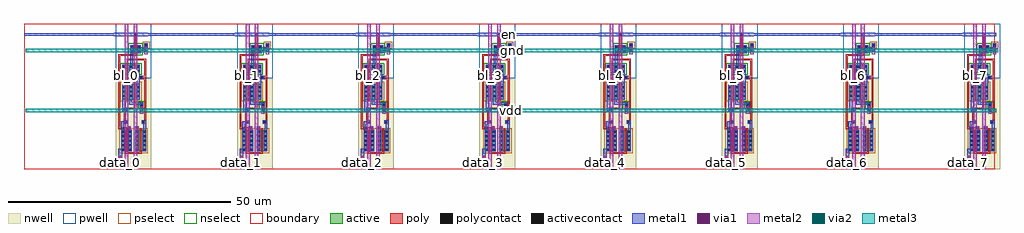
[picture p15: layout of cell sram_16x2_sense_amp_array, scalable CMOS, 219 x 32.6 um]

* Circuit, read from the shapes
.subckt sram_16x2_sense_amp_array bl_0 bl_1 bl_2 bl_3 bl_4 bl_5 bl_6 bl_7 br_0 br_1 br_2 br_3 br_4 br_5 br_6 br_7 data_0 data_1 data_2 data_3 data_4 data_5 data_6 data_7 en gnd vdd
M1 n1 n2 data_0 gnd nfet w=1.8u l=0.4u
M2 n2 data_0 n1 gnd nfet w=1.8u l=0.4u
M3 gnd en n1 gnd nfet w=1.8u l=0.4u
M4 n3 n4 data_1 gnd nfet w=1.8u l=0.4u
M5 n4 data_1 n3 gnd nfet w=1.8u l=0.4u
M6 gnd en n3 gnd nfet w=1.8u l=0.4u
M7 n5 n6 data_2 gnd nfet w=1.8u l=0.4u
M8 n6 data_2 n5 gnd nfet w=1.8u l=0.4u
M9 gnd en n5 gnd nfet w=1.8u l=0.4u
M10 n7 n8 data_3 gnd nfet w=1.8u l=0.4u
M11 n8 data_3 n7 gnd nfet w=1.8u l=0.4u
M12 gnd en n7 gnd nfet w=1.8u l=0.4u
M13 n9 n10 data_4 gnd nfet w=1.8u l=0.4u
M14 n10 data_4 n9 gnd nfet w=1.8u l=0.4u
M15 gnd en n9 gnd nfet w=1.8u l=0.4u
M16 n11 n12 data_5 gnd nfet w=1.8u l=0.4u
M17 n12 data_5 n11 gnd nfet w=1.8u l=0.4u
M18 gnd en n11 gnd nfet w=1.8u l=0.4u
M19 n13 n14 data_6 gnd nfet w=1.8u l=0.4u
M20 n14 data_6 n13 gnd nfet w=1.8u l=0.4u
M21 gnd en n13 gnd nfet w=1.8u l=0.4u
M22 n15 n16 data_7 gnd nfet w=1.8u l=0.4u
M23 n16 data_7 n15 gnd nfet w=1.8u l=0.4u
M24 gnd en n15 gnd nfet w=1.8u l=0.4u
M25 bl_0 en data_0 vdd pfet w=4.8u l=0.4u
M26 vdd n2 data_0 vdd pfet w=3.6u l=0.4u
M27 n2 data_0 vdd vdd pfet w=3.6u l=0.4u
M28 n2 en br_0 vdd pfet w=4.8u l=0.4u
M29 bl_1 en data_1 vdd pfet w=4.8u l=0.4u
M30 vdd n4 data_1 vdd pfet w=3.6u l=0.4u
M31 n4 data_1 vdd vdd pfet w=3.6u l=0.4u
M32 n4 en br_1 vdd pfet w=4.8u l=0.4u
M33 bl_2 en data_2 vdd pfet w=4.8u l=0.4u
M34 vdd n6 data_2 vdd pfet w=3.6u l=0.4u
M35 n6 data_2 vdd vdd pfet w=3.6u l=0.4u
M36 n6 en br_2 vdd pfet w=4.8u l=0.4u
M37 bl_3 en data_3 vdd pfet w=4.8u l=0.4u
M38 vdd n8 data_3 vdd pfet w=3.6u l=0.4u
M39 n8 data_3 vdd vdd pfet w=3.6u l=0.4u
M40 n8 en br_3 vdd pfet w=4.8u l=0.4u
M41 bl_4 en data_4 vdd pfet w=4.8u l=0.4u
M42 vdd n10 data_4 vdd pfet w=3.6u l=0.4u
M43 n10 data_4 vdd vdd pfet w=3.6u l=0.4u
M44 n10 en br_4 vdd pfet w=4.8u l=0.4u
M45 bl_5 en data_5 vdd pfet w=4.8u l=0.4u
M46 vdd n12 data_5 vdd pfet w=3.6u l=0.4u
M47 n12 data_5 vdd vdd pfet w=3.6u l=0.4u
M48 n12 en br_5 vdd pfet w=4.8u l=0.4u
M49 bl_6 en data_6 vdd pfet w=4.8u l=0.4u
M50 vdd n14 data_6 vdd pfet w=3.6u l=0.4u
M51 n14 data_6 vdd vdd pfet w=3.6u l=0.4u
M52 n14 en br_6 vdd pfet w=4.8u l=0.4u
M53 bl_7 en data_7 vdd pfet w=4.8u l=0.4u
M54 vdd n16 data_7 vdd pfet w=3.6u l=0.4u
M55 n16 data_7 vdd vdd pfet w=3.6u l=0.4u
M56 n16 en br_7 vdd pfet w=4.8u l=0.4u
.ends

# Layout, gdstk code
import gdstk
lib = gdstk.Library(unit=1e-6, precision=1e-09)
def R(c, l, rs):  # rectangles x0, y0, x1, y1
    for r in rs: c.add(gdstk.rectangle(r[:2], r[2:], *l))
def A(c, l, x, y, w, h, nx, ny, dx, dy):  # array of equal rectangles
    R(c, l, [(x+i*dx, y+j*dy, x+i*dx+w, y+j*dy+h) for i in range(nx) for j in range(ny)])
pwell = (41, 0)
nwell = (42, 0)
active = (43, 0)
pselect = (44, 0)
nselect = (45, 0)
poly = (46, 0)
polycontact = (47, 0)
activecontact = (48, 0)
metal1 = (49, 0)
via1 = (50, 0)
metal2 = (51, 0)
via2 = (61, 0)
metal3 = (62, 0)
boundary = (63, 0)

sense_amp = lib.new_cell('sense_amp')
R(sense_amp, pwell, [(0,20.4,8,32.6)])
R(sense_amp, nwell, [(0,0,8,20.4)])
R(sense_amp, active, [(1.2,4,3.6,8.8), (4.4,4,6.8,8.8), (5.4,14,6.2,14.8), (1.4,15.6,5.4,19.2), (1.4,21.6,5.4,23.4), (3.2,26,5.6,27.8), (6.4,27.4,7.2,28.2)])
R(sense_amp, pselect, [(0.8,3.6,7.2,9.2), (1,15.2,5.8,19.6), (6,27,7.6,28.6)])
R(sense_amp, nselect, [(5,13.6,6.6,15.2), (1,21.2,5.8,23.8), (2.8,25.6,6,28.2)])
R(sense_amp, poly, [(2.2,3.4,5.8,3.8), (2.2,3.8,2.6,9), (5.4,3.8,5.8,9.2), (0.6,9,2.6,9.4), (0.6,9.4,1,25.4), (1.8,10.2,2.6,11), (5.8,10.2,6.8,11), (1.8,11,2.2,13), (6.4,11,6.8,20.2), (1.8,13,2.6,13.4), (1.8,13.4,4.4,13.8), (4,13.8,4.4,23.8), (2.4,15.2,2.8,24.4), (5.2,20.2,6.8,21), (6.4,21,6.8,24.4), (2.4,24.4,6.8,24.8), (0.6,25.4,4.6,25.8), (4.2,25.8,4.6,29.8), (4,29.8,4.8,30.6)])
R(sense_amp, polycontact, [(2,10.4,2.4,10.8), (6,10.4,6.4,10.8), (2,13.2,2.4,13.6), (5.4,20.4,5.8,20.8), (4.2,30,4.6,30.4)])
A(sense_amp, activecontact, 1.4, 4.2, 0.4, 0.4, 4, 5, 1.6, 1)
A(sense_amp, activecontact, 1.6, 16.2, 0.4, 0.4, 3, 3, 1.6, 1)
A(sense_amp, activecontact, 1.6, 21.8, 0.4, 0.4, 3, 2, 1.6, 1)
R(sense_amp, activecontact, [(5.6,14.2,6,14.6), (3.4,26.2,3.8,26.6), (5,26.2,5.4,26.6), (3.4,27.2,3.8,27.6), (5,27.2,5.4,27.6), (6.6,27.6,7,28)])
R(sense_amp, metal1, [(0.6,2.2,1.4,4), (0.6,4,2,4.6), (2.8,4,3.6,8.8), (4.4,4,5.2,9.6), (6,4,6.8,8.8), (1.2,4.6,2,8.8), (1.2,8.8,1.8,10.2), (2.6,8.8,3.4,9.6), (6.2,8.8,6.8,10.2), (1.2,10.2,2.6,10.8), (5.8,10.2,6.8,11), (1.8,10.8,2.6,11), (1.4,13,2.6,13.8), (5.4,13.2,6.2,14.4), (1.4,13.8,2.2,23.4), (3,14.4,6.2,15), (3,15,3.6,15.6), (3,15.6,3.8,19.2), (4.6,15.6,5.4,20.2), (4.6,20.2,6,21), (4.6,21,5.4,23.4), (3,21.6,3.8,23.4), (3.2,23.4,3.8,26), (3.2,26,4,27.8), (4.8,26,5.6,26.6), (4.8,26.6,7.2,27.4), (4.8,27.4,5.6,27.8), (6.4,27.4,7.2,28.2), (-0.4,29.8,7.2,30.6), (-0.4,29.8,7.2,30.6)])
R(sense_amp, via1, [(0.8,2.4,1.2,2.8), (2.8,9,3.2,9.4), (4.6,9,5,9.4), (5.6,13.4,6,13.8), (6.6,26.8,7,27.2)])
R(sense_amp, metal2, [(0.6,0,1.4,3), (0.6,0,1.4,3), (2,0,2.8,8.8), (4,0,4.8,8.8), (2,8.8,3.4,9.6), (4,8.8,5.2,9.6), (2,9.6,2.8,32.6), (2,9.6,2.8,32.6), (4,9.6,4.8,32.6), (4,9.6,4.8,32.6), (5.4,12.4,6.2,14), (5.4,12.4,6.2,14), (6.4,25.8,7.2,27.4), (6.4,25.8,7.2,27.4)])
R(sense_amp, boundary, [(0,0,6.8,32.6)])
sense_amp.add(gdstk.Label('en', (0,29.8), layer=49, texttype=0))
sense_amp.add(gdstk.Label('gnd', (6.8,26.2), layer=51, texttype=0))
sense_amp.add(gdstk.Label('vdd', (5.8,12.8), layer=51, texttype=0))
sense_amp.add(gdstk.Label('bl', (2.4,32.2), layer=51, texttype=0))
sense_amp.add(gdstk.Label('br', (4.4,32.2), layer=51, texttype=0))
sense_amp.add(gdstk.Label('dout', (1,0.6), layer=51, texttype=0))
sense_amp.add(gdstk.Label('bl', (2.4,21.1), layer=51, texttype=0))
sense_amp.add(gdstk.Label('br', (4.4,21.1), layer=51, texttype=0))
sense_amp.add(gdstk.Label('dout', (1,1.5), layer=51, texttype=0))
sense_amp.add(gdstk.Label('en', (3.4,30.2), layer=49, texttype=0))
sense_amp.add(gdstk.Label('vdd', (5.8,13.2), layer=51, texttype=0))
sense_amp.add(gdstk.Label('gnd', (6.8,26.6), layer=51, texttype=0))

sram_16x2_contact_19 = lib.new_cell('sram_16x2_contact_19')
R(sram_16x2_contact_19, metal2, [(0,0,0.8,0.8)])
R(sram_16x2_contact_19, via2, [(0.2,0.2,0.6,0.6)])
R(sram_16x2_contact_19, metal3, [(0,0,0.8,0.8)])
R(sram_16x2_contact_19, boundary, [(0,0,0.8,0.8)])

sram_16x2_sense_amp_arra = lib.new_cell('sram_16x2_sense_amp_array')
A(sram_16x2_sense_amp_arra, metal1, 23.7, 29.9, 0.6, 0.6, 8, 1, 27.2, 0)
R(sram_16x2_sense_amp_arra, metal1, [(0,29.9,217.8,30.5)])
A(sram_16x2_sense_amp_arra, metal2, 21.2, 0, 0.8, 3, 8, 1, 27.2, 0)
R(sram_16x2_sense_amp_arra, metal2, [(22.6,9.6,23.4,32.6), (24.6,9.6,25.4,32.6), (49.8,9.6,50.6,32.6), (51.8,9.6,52.6,32.6), (77,9.6,77.8,32.6), (79,9.6,79.8,32.6), (104.2,9.6,105,32.6), (106.2,9.6,107,32.6), (131.4,9.6,132.2,32.6), (133.4,9.6,134.2,32.6), (158.6,9.6,159.4,32.6), (160.6,9.6,161.4,32.6), (185.8,9.6,186.6,32.6), (187.8,9.6,188.6,32.6), (213,9.6,213.8,32.6), (215,9.6,215.8,32.6)])
R(sram_16x2_sense_amp_arra, metal3, [(0.4,12.8,218.2,13.6), (0.4,26.2,218.6,27)])
R(sram_16x2_sense_amp_arra, boundary, [(0,0,217.8,32.6)])
sram_16x2_sense_amp_arra.add(gdstk.Reference(sense_amp, (20.6,0)))
sram_16x2_sense_amp_arra.add(gdstk.Reference(sense_amp, (47.8,0)))
sram_16x2_sense_amp_arra.add(gdstk.Reference(sense_amp, (75,0)))
sram_16x2_sense_amp_arra.add(gdstk.Reference(sense_amp, (102.2,0)))
sram_16x2_sense_amp_arra.add(gdstk.Reference(sense_amp, (129.4,0)))
sram_16x2_sense_amp_arra.add(gdstk.Reference(sense_amp, (156.6,0)))
sram_16x2_sense_amp_arra.add(gdstk.Reference(sense_amp, (183.8,0)))
sram_16x2_sense_amp_arra.add(gdstk.Reference(sense_amp, (211,0)))
sram_16x2_sense_amp_arra.add(gdstk.Reference(sram_16x2_contact_19, (26,12.8)))
sram_16x2_sense_amp_arra.add(gdstk.Reference(sram_16x2_contact_19, (53.2,12.8)))
sram_16x2_sense_amp_arra.add(gdstk.Reference(sram_16x2_contact_19, (80.4,12.8)))
sram_16x2_sense_amp_arra.add(gdstk.Reference(sram_16x2_contact_19, (107.6,12.8)))
sram_16x2_sense_amp_arra.add(gdstk.Reference(sram_16x2_contact_19, (134.8,12.8)))
sram_16x2_sense_amp_arra.add(gdstk.Reference(sram_16x2_contact_19, (162,12.8)))
sram_16x2_sense_amp_arra.add(gdstk.Reference(sram_16x2_contact_19, (189.2,12.8)))
sram_16x2_sense_amp_arra.add(gdstk.Reference(sram_16x2_contact_19, (216.4,12.8)))
sram_16x2_sense_amp_arra.add(gdstk.Reference(sram_16x2_contact_19, (27,26.2)))
sram_16x2_sense_amp_arra.add(gdstk.Reference(sram_16x2_contact_19, (54.2,26.2)))
sram_16x2_sense_amp_arra.add(gdstk.Reference(sram_16x2_contact_19, (81.4,26.2)))
sram_16x2_sense_amp_arra.add(gdstk.Reference(sram_16x2_contact_19, (108.6,26.2)))
sram_16x2_sense_amp_arra.add(gdstk.Reference(sram_16x2_contact_19, (135.8,26.2)))
sram_16x2_sense_amp_arra.add(gdstk.Reference(sram_16x2_contact_19, (163,26.2)))
sram_16x2_sense_amp_arra.add(gdstk.Reference(sram_16x2_contact_19, (190.2,26.2)))
sram_16x2_sense_amp_arra.add(gdstk.Reference(sram_16x2_contact_19, (217.4,26.2)))
sram_16x2_sense_amp_arra.add(gdstk.Label('bl_0', (23,21.1), layer=51, texttype=0))
sram_16x2_sense_amp_arra.add(gdstk.Label('br_0', (25,21.1), layer=51, texttype=0))
sram_16x2_sense_amp_arra.add(gdstk.Label('data_0', (21.6,1.5), layer=51, texttype=0))
sram_16x2_sense_amp_arra.add(gdstk.Label('bl_1', (50.2,21.1), layer=51, texttype=0))
sram_16x2_sense_amp_arra.add(gdstk.Label('br_1', (52.2,21.1), layer=51, texttype=0))
sram_16x2_sense_amp_arra.add(gdstk.Label('data_1', (48.8,1.5), layer=51, texttype=0))
sram_16x2_sense_amp_arra.add(gdstk.Label('bl_2', (77.4,21.1), layer=51, texttype=0))
sram_16x2_sense_amp_arra.add(gdstk.Label('br_2', (79.4,21.1), layer=51, texttype=0))
sram_16x2_sense_amp_arra.add(gdstk.Label('data_2', (76,1.5), layer=51, texttype=0))
sram_16x2_sense_amp_arra.add(gdstk.Label('bl_3', (104.6,21.1), layer=51, texttype=0))
sram_16x2_sense_amp_arra.add(gdstk.Label('br_3', (106.6,21.1), layer=51, texttype=0))
sram_16x2_sense_amp_arra.add(gdstk.Label('data_3', (103.2,1.5), layer=51, texttype=0))
sram_16x2_sense_amp_arra.add(gdstk.Label('bl_4', (131.8,21.1), layer=51, texttype=0))
sram_16x2_sense_amp_arra.add(gdstk.Label('br_4', (133.8,21.1), layer=51, texttype=0))
sram_16x2_sense_amp_arra.add(gdstk.Label('data_4', (130.4,1.5), layer=51, texttype=0))
sram_16x2_sense_amp_arra.add(gdstk.Label('bl_5', (159,21.1), layer=51, texttype=0))
sram_16x2_sense_amp_arra.add(gdstk.Label('br_5', (161,21.1), layer=51, texttype=0))
sram_16x2_sense_amp_arra.add(gdstk.Label('data_5', (157.6,1.5), layer=51, texttype=0))
sram_16x2_sense_amp_arra.add(gdstk.Label('bl_6', (186.2,21.1), layer=51, texttype=0))
sram_16x2_sense_amp_arra.add(gdstk.Label('br_6', (188.2,21.1), layer=51, texttype=0))
sram_16x2_sense_amp_arra.add(gdstk.Label('data_6', (184.8,1.5), layer=51, texttype=0))
sram_16x2_sense_amp_arra.add(gdstk.Label('bl_7', (213.4,21.1), layer=51, texttype=0))
sram_16x2_sense_amp_arra.add(gdstk.Label('br_7', (215.4,21.1), layer=51, texttype=0))
sram_16x2_sense_amp_arra.add(gdstk.Label('data_7', (212,1.5), layer=51, texttype=0))
sram_16x2_sense_amp_arra.add(gdstk.Label('vdd', (109.3,13.2), layer=62, texttype=0))
sram_16x2_sense_amp_arra.add(gdstk.Label('gnd', (109.5,26.6), layer=62, texttype=0))
sram_16x2_sense_amp_arra.add(gdstk.Label('en', (108.9,30.2), layer=49, texttype=0))

lib.write_gds('sram_16x2_sense_amp_array.gds')
